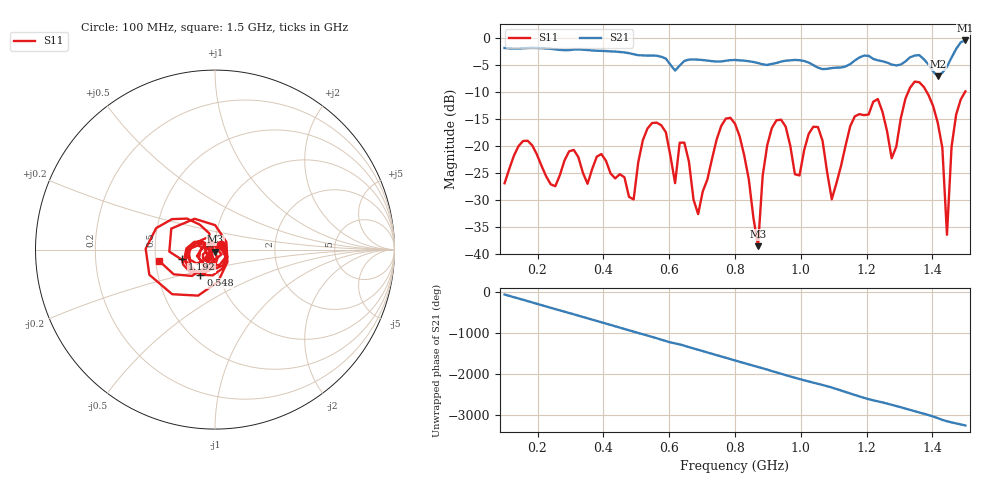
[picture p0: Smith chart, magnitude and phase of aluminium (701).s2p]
! NanoVNA-App
! Date: 2025-09-25 15:00:44
! Start: 100MHz Stop: 1,5GHz Points: 101
! S-Parameter data: F S11 S21 S12 S22
# Hz S RI R 50
!  Frequency  S11_Real  S11_Imag  S21_Real  S21_Imag  S12_Real  S12_Imag  S22_Real  S22_Imag
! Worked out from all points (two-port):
!   101 points, 100 MHz to 1.5 GHz, reference 50 ohm
!   highest |S21| = -0.52 dB at 1.5 GHz (marker M1); lowest = -7.1 dB at 1.416 GHz (marker M2)
!   |S21| within 3 dB of the highest: start of sweep to 575.2 MHz; 1.459 GHz to end of sweep (the widest 2 of 4)
!   lowest |S11| = -38.6 dB at 870 MHz (marker M3), VSWR 1.02, Z = 50.1 - j1.17 ohm
!   |S11| at or under -10 dB: start of sweep to 1.327 GHz; 1.382 GHz to 1.5 GHz (117.5 MHz wide, 8.16 % of centre)
!   S12 and S22 are empty: the file has one direction only
!   S11 on the Smith chart (normalised r, x): 100 MHz: 1.07, +0.06; 548 MHz: 0.82, -0.24; 1.192 GHz: 0.69, -0.08; 1.5 GHz: 0.52, -0.07
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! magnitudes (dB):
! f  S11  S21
! 100 MHz  -27.0  -1.9
! 156 MHz  -19.1  -2.0
! 338 MHz  -25.0  -2.2
! 492 MHz  -30.0  -3.1
! 548 MHz  -15.8  -3.3
! 576 MHz  -16.2  -3.5
! 618 MHz  -26.9  -6.1
! 646 MHz  -19.4  -4.3
! 688 MHz  -32.7  -4.1
! 800 MHz  -15.9  -4.1
! 870 MHz  -38.6  -4.7
! 912 MHz  -16.7  -4.9
! 996 MHz  -25.5  -4.2
! 1.038 GHz  -16.5  -5.1
! 1.094 GHz  -29.9  -5.6
! 1.192 GHz  -14.3  -3.3
! 1.276 GHz  -22.3  -5.0
! 1.346 GHz  -8.1  -3.3
! 1.416 GHz  -15.8  -7.1
! 1.444 GHz  -36.5  -5.4
! 1.458 GHz  -20.2  -3.7
! 1.5 GHz  -9.9  -0.5
